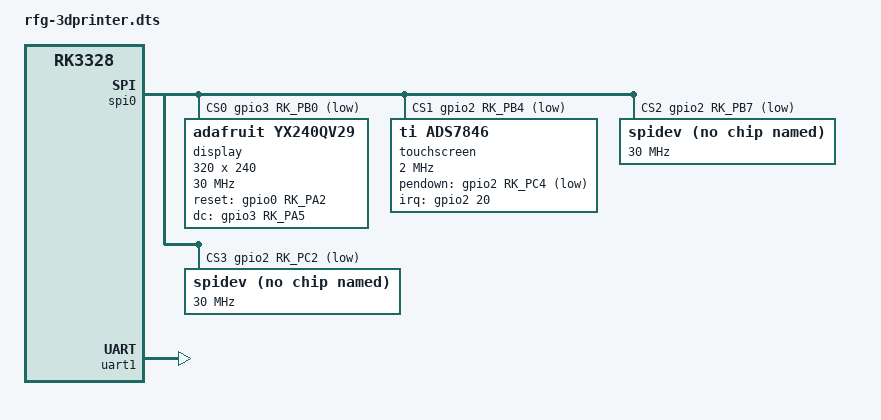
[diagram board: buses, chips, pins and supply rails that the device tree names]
/dts-v1/;
/plugin/;

#include <dt-bindings/gpio/gpio.h>
#include <dt-bindings/pinctrl/rockchip.h>
#include <dt-bindings/interrupt-controller/irq.h>

/*
	A Device tree overlay for renegade to enable SPI with 4 chip select pins.
	0 - ili9341 display adafruit / Hosyond 3.2" lcd from amazon
	1 - ads7846 touch controller
	2 - spi dev 0.2 (can be used for adxl or something else)
	3 - spi dev 0.3 (can be used for a second adxl or something else)

	Also enables uart 1 to communicate with printer on /dev/ttyS1

	PINS:
	19 - MOSI
	21 - MISO
	23 - CLK
	
	18 - DISPLAY DC
	22 - DISPLAY RESET
	24 - DISPLAY CHIP SELECT CS0

	11 - TOUCHSCREEN IRQ
	26 - TOUCHSCREEN CHIP SELECT CS1

	37 - ADXL bed CHIP SELECT CS2 /dev/spidev0.2
	35 - ADXL hotend CHIP SELECT CS3 /dev/spidev0.3
    
*/

/ {
	compatible = "rockchip,rk3328";

	fragment@0 {
		target-path = "/aliases";
		
		__overlay__ {
			spi0 = "/soc/spi@ff190000";
		};
	};
	fragment@1 {
		target = <&spi0>;
		
		__overlay__ {
			status = "okay";
			num-cs = <4>;
			pinctrl-names = "default", "default";
			pinctrl-1 = <&spi0m0_cs1>;
			cs-gpios = <&gpio3 RK_PB0 GPIO_ACTIVE_LOW>, <&gpio2 RK_PB4 GPIO_ACTIVE_LOW>,
				<&gpio2 RK_PB7 GPIO_ACTIVE_LOW>,<&gpio2 RK_PC2 GPIO_ACTIVE_LOW>;
			
			display@0 {
/*				compatible = "waveshare,rpi-lcd-35", "ilitek,ili9486";*/
				compatible = "adafruit,yx240qv29", "ilitek,ili9341";
				rotation = <90>;
				bgr = <0>;
				fps = <15>;
				buswidth = <1>;
				height = <240>;
				width = <320>;
				reg = <0>;
				spi-max-frequency = <30000000>;
				reset-gpios = <&gpio0 RK_PA2 GPIO_ACTIVE_HIGH>;
				dc-gpios = <&gpio3 RK_PA5 GPIO_ACTIVE_HIGH>;
				status = "okay";
			};
			touchscreen@1 {
				compatible = "ti,ads7846";
				pinctrl-names = "default";
				pinctrl-0 = <&i2s1_sdio1>;
				reg = <1>;
				spi-max-frequency = <2000000>;
				interrupt-parent = <&gpio2>;
				interrupts = <20 IRQ_TYPE_EDGE_FALLING>;
				pendown-gpio = <&gpio2 RK_PC4 GPIO_ACTIVE_LOW>;
				ti,x-min = /bits/ 16 <0>;
		                ti,y-min = /bits/ 16 <0>;
				ti,x-max = /bits/ 16 <4095>;
		                ti,y-max = /bits/ 16 <4095>;
		                ti,pressure-min = /bits/ 16 <0>;
		                ti,pressure-max = /bits/ 16 <0xFFFF>;
		                ti,x-plate-ohms = /bits/ 16 <100>;
		                ti,swap-xy = <1>; /* Enable swap_xy */
				wakeup-source;
				status = "okay";
			};
			spidev@2 {
				compatible = "rohm,dh2228fv";
				reg = <2>;
				spi-max-frequency = <30000000>;
			};
			spidev@3 {
				compatible = "rohm,dh2228fv";
				reg = <3>;
				spi-max-frequency = <30000000>;
			};
		};
	};
	
	fragment@2 {
                target = <&uart1>;
                __overlay__ {
                        status = "okay";
                };
        };


};



